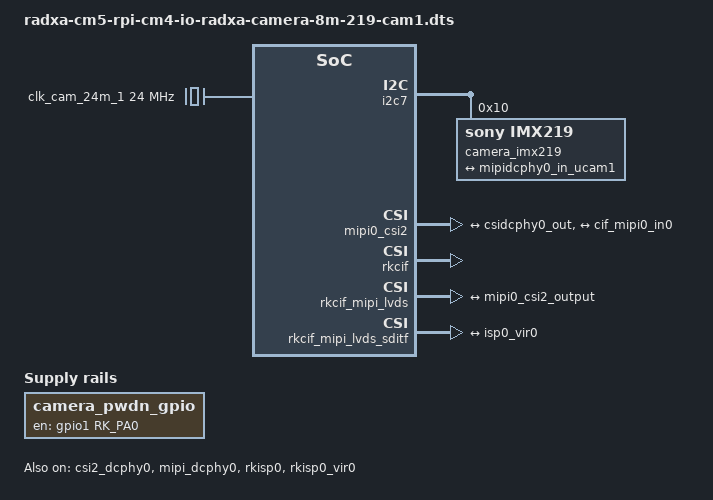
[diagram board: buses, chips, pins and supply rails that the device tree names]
/dts-v1/;
/plugin/;

#include <dt-bindings/gpio/gpio.h>
#include <dt-bindings/pinctrl/rockchip.h>

/ {
	metadata {
		title ="Enable Radxa Camera 8M 219 on CAM1";
		compatible = "radxa,cm5-rpi-cm4-io";
		category = "camera";
		exclusive = "csi2_dcphy0";
		description = "Enable Radxa Camera 8M 219 on CAM1.";
	};
};


&{/} {
	camera_pwdn_gpio: camera-pwdn-gpio {
		compatible = "regulator-fixed";
		regulator-name = "camera_pwdn_gpio";
		regulator-always-on;
		regulator-boot-on;
		enable-active-high;
		gpio = <&gpio1 RK_PA0 GPIO_ACTIVE_HIGH>;
		pinctrl-names = "default";
		pinctrl-0 = <&cam_pwdn_gpio>;
	};

	clk_cam_24m_1: external-camera-clock-24m-1 {
		compatible = "fixed-clock";
		clock-frequency = <24000000>;
		clock-output-names = "clk_cam_24m_1";
		#clock-cells = <0>;
	};
};

&i2c7 {
	status = "okay";
	pinctrl-0 = <&i2c7m2_xfer>;
	#address-cells = <1>;
	#size-cells = <0>;

	camera_imx219: camera-imx219@10 {
		compatible = "sony,imx219";
		reg = <0x10>;

		clocks = <&clk_cam_24m_1>;
		clock-names = "xvclk";

		rockchip,camera-module-index = <1>;
		rockchip,camera-module-facing = "back";
		rockchip,camera-module-name = "RADXA-CAMERA-8M";
		rockchip,camera-module-lens-name = "default";

		port {
			imx219_out1: endpoint {
				remote-endpoint = <&mipidcphy0_in_ucam1>;
				data-lanes = <1 2>;
			};
		};
	};
};

&csi2_dcphy0 {
	status = "okay";

	ports {
		#address-cells = <1>;
		#size-cells = <0>;

		port@0 {
			reg = <0>;
			#address-cells = <1>;
			#size-cells = <0>;

			mipidcphy0_in_ucam1: endpoint@1 {
				reg = <1>;
				remote-endpoint = <&imx219_out1>;
				data-lanes = <1 2>;
			};
		};

		port@1 {
			reg = <1>;
			#address-cells = <1>;
			#size-cells = <0>;

			csidcphy0_out: endpoint@0 {
				reg = <0>;
				remote-endpoint = <&mipi0_csi2_input>;
			};
		};
	};
};

&mipi_dcphy0 {
	status = "okay";
};

&mipi0_csi2 {
	status = "okay";

	ports {
		#address-cells = <1>;
		#size-cells = <0>;

		port@0 {
			reg = <0>;
			#address-cells = <1>;
			#size-cells = <0>;

			mipi0_csi2_input: endpoint@1 {
				reg = <1>;
				remote-endpoint = <&csidcphy0_out>;
			};
		};

		port@1 {
			reg = <1>;
			#address-cells = <1>;
			#size-cells = <0>;

			mipi0_csi2_output: endpoint@0 {
				reg = <0>;
				remote-endpoint = <&cif_mipi0_in0>;
			};
		};
	};
};

&rkcif {
	status = "okay";
};

&rkcif_mipi_lvds {
	status = "okay";

	port {
		cif_mipi0_in0: endpoint {
		remote-endpoint = <&mipi0_csi2_output>;
		};
	};
};

&rkcif_mipi_lvds_sditf {
	status = "okay";

	port {
		mipi_lvds_sditf: endpoint {
			remote-endpoint = <&isp0_vir0>;
		};
	};
};

&rkcif_mmu {
	status = "okay";
};

&isp0_mmu {
	status = "okay";
};

&rkisp0 {
	status = "okay";
};

&rkisp0_vir0 {
	status = "okay";

	port {
		#address-cells = <1>;
		#size-cells = <0>;

		isp0_vir0: endpoint@0 {
			reg = <0>;
			remote-endpoint = <&mipi_lvds_sditf>;
		};
	};
};

&pinctrl {
	camera {
		cam_pwdn_gpio: cam-pwdn-gpio {
			rockchip,pins = <1 RK_PA0 RK_FUNC_GPIO &pcfg_pull_up>;
		};
	};
};
